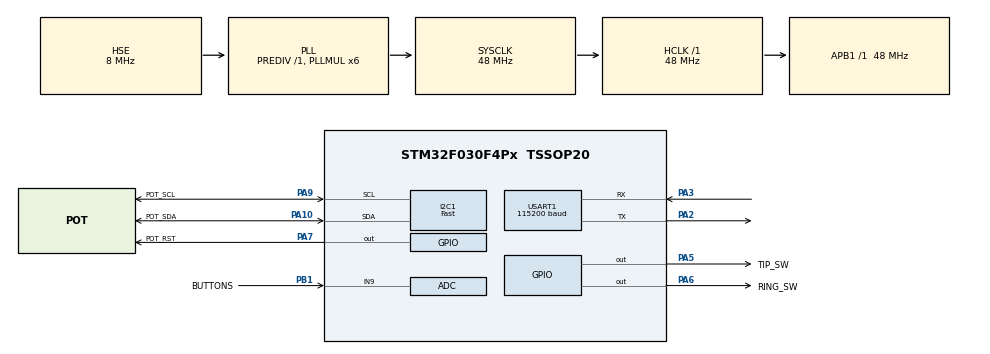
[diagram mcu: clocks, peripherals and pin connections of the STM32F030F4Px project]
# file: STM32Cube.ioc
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ADC.ContinuousConvMode=ENABLE
ADC.DMAContinuousRequests=ENABLE
ADC.EOCSelection=ADC_EOC_SEQ_CONV
ADC.Overrun=ADC_OVR_DATA_OVERWRITTEN
ADC.Resolution=ADC_RESOLUTION_12B
ADC.SamplingTime=ADC_SAMPLETIME_28CYCLES_5
Dma.ADC.0.Direction=DMA_PERIPH_TO_MEMORY
Dma.ADC.0.Instance=DMA1_Channel1
Dma.ADC.0.MemDataAlignment=DMA_MDATAALIGN_HALFWORD
Dma.ADC.0.MemInc=DMA_MINC_ENABLE
Dma.ADC.0.Mode=DMA_CIRCULAR
Dma.ADC.0.PeriphDataAlignment=DMA_PDATAALIGN_HALFWORD
Dma.ADC.0.PeriphInc=DMA_PINC_DISABLE
Dma.ADC.0.Priority=DMA_PRIORITY_MEDIUM
Dma.Request0=ADC
Dma.Request1=USART1_RX
Dma.Request2=USART1_TX
Dma.USART1_RX.1.Direction=DMA_PERIPH_TO_MEMORY
Dma.USART1_RX.1.Instance=DMA1_Channel3
Dma.USART1_RX.1.MemDataAlignment=DMA_MDATAALIGN_BYTE
Dma.USART1_RX.1.MemInc=DMA_MINC_ENABLE
Dma.USART1_RX.1.Mode=DMA_CIRCULAR
Dma.USART1_RX.1.PeriphDataAlignment=DMA_PDATAALIGN_BYTE
Dma.USART1_RX.1.PeriphInc=DMA_PINC_DISABLE
Dma.USART1_RX.1.Priority=DMA_PRIORITY_HIGH
Dma.USART1_TX.2.Direction=DMA_MEMORY_TO_PERIPH
Dma.USART1_TX.2.Instance=DMA1_Channel2
Dma.USART1_TX.2.MemDataAlignment=DMA_MDATAALIGN_BYTE
Dma.USART1_TX.2.MemInc=DMA_MINC_ENABLE
Dma.USART1_TX.2.Mode=DMA_NORMAL
Dma.USART1_TX.2.PeriphDataAlignment=DMA_PDATAALIGN_BYTE
Dma.USART1_TX.2.PeriphInc=DMA_PINC_DISABLE
Dma.USART1_TX.2.Priority=DMA_PRIORITY_HIGH
I2C1.I2C_Speed_Mode=I2C_Fast
I2C1.Timing=0x2010091A
Mcu.Family=STM32F0
Mcu.Name=STM32F030F4Px
Mcu.Package=TSSOP20
NVIC.DMA1_Channel1_IRQn=true\:0\:0\:false\:false\:true\:false\:true
NVIC.DMA1_Channel2_3_IRQn=true\:0\:0\:false\:false\:true\:false\:true
NVIC.USART1_IRQn=true\:0\:0\:false\:false\:true\:true\:true
PA10.GPIO_Label=POT_SDA
PA10.Mode=I2C
PA10.Signal=I2C1_SDA
PA13.Mode=Serial_Wire
PA13.Signal=SYS_SWDIO
PA14.Mode=Serial_Wire
PA14.Signal=SYS_SWCLK
PA2.Mode=Asynchronous
PA2.Signal=USART1_TX
PA3.Mode=Asynchronous
PA3.Signal=USART1_RX
PA5.GPIO_Label=TIP_SW
PA5.GPIO_PuPd=GPIO_PULLDOWN
PA5.GPIO_Speed=GPIO_SPEED_FREQ_MEDIUM
PA5.Signal=GPIO_Output
PA6.GPIO_Label=RING_SW
PA6.GPIO_PuPd=GPIO_PULLDOWN
PA6.GPIO_Speed=GPIO_SPEED_FREQ_MEDIUM
PA6.Signal=GPIO_Output
PA7.GPIO_Label=POT_RST
PA7.GPIO_ModeDefaultOutputPP=GPIO_MODE_OUTPUT_OD
PA7.GPIO_PuPd=GPIO_PULLUP
PA7.PinState=GPIO_PIN_SET
PA7.Signal=GPIO_Output
PA9.GPIO_Label=POT_SCL
PA9.Mode=I2C
PA9.Signal=I2C1_SCL
PB1.GPIO_Label=BUTTONS
PB1.Mode=IN9
PB1.Signal=ADC_IN9
PF0-OSC_IN.Mode=HSE-External-Oscillator
PF0-OSC_IN.Signal=RCC_OSC_IN
PF1-OSC_OUT.Mode=HSE-External-Oscillator
PF1-OSC_OUT.Signal=RCC_OSC_OUT
ProjectManager.HeapSize=0x200
ProjectManager.StackSize=0x400
ProjectManager.TargetToolchain=Other Toolchains (GPDSC)
RCC.AHBFreq_Value=48000000
RCC.APB1Freq_Value=48000000
RCC.APB1TimFreq_Value=48000000
RCC.HCLKFreq_Value=48000000
RCC.I2c1ClockSelection=RCC_I2C1CLKSOURCE_SYSCLK
RCC.PLLMUL=RCC_PLL_MUL6
RCC.PLLSourceVirtual=RCC_PLLSOURCE_HSE
RCC.SYSCLKFreq_VALUE=48000000
RCC.SYSCLKSource=RCC_SYSCLKSOURCE_PLLCLK
USART1.BaudRate=115200
USART1.VirtualMode-Asynchronous=VM_ASYNC
board=custom

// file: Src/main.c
/* USER CODE BEGIN Header */
/**
  ******************************************************************************
  * @file           : main.c
  * @brief          : Main program body
  ******************************************************************************
  * @attention
  *
  * <h2><center>&copy; Copyright (c) 2020 STMicroelectronics.
  * All rights reserved.</center></h2>
  *
  * This software component is licensed by ST under BSD 3-Clause license,
  * the "License"; You may not use this file except in compliance with the
  * License. You may obtain a copy of the License at:
  *                        opensource.org/licenses/BSD-3-Clause
  *
  ******************************************************************************
  */
/* USER CODE END Header */
#include "main.h"
#include "adc.h"
#include "dma.h"
#include "i2c.h"
#include "usart.h"
#include "gpio.h"

/* USER CODE BEGIN Includes */
#include <config.h>
#include "memory.h"
#include "math.h"
#include "ad5272.h"
#include "statemachine.h"
#include "commands.h"

#ifdef FEAT_FLASH_STORAGE
#include "flashstorage.h"
#endif

#ifdef DEBUG
#include "stdio.h"
#include "SEGGER_RTT.h"
#endif

/* USER CODE END Includes */

/* USER CODE BEGIN PM */
#define FL_AVG_READY 0x00000001
#define FL_URX_READY 0x00000002
#define FL_UTX_READY 0x00000004

#define FL_FWD_ADC 0x00000001
#define FL_HANDSHK 0x00000002

/* USER CODE END PM */

/* USER CODE BEGIN PV */
uint16_t readouts[BUT_BUF_LEN];
uint8_t rxBuff[RX_BUF_LEN];
uint8_t txBuff[TX_BUF_LEN];

volatile uint32_t average = 0;
volatile uint32_t intFlags = 0;
volatile uint32_t stateFlags = 0;

/* USER CODE END PV */

void SystemClock_Config(void);

int main(void)
{

  /* MCU Configuration--------------------------------------------------------*/

  /* Reset of all peripherals, Initializes the Flash interface and the Systick. */
  HAL_Init();

  /* Configure the system clock */
  SystemClock_Config();

  /* Initialize all configured peripherals */
  MX_GPIO_Init();
  MX_DMA_Init();
  MX_USART1_UART_Init();
  MX_ADC_Init();
  MX_I2C1_Init();
  /* USER CODE BEGIN 2 */
  HAL_GPIO_WritePin(RING_SW_GPIO_Port, RING_SW_Pin, GPIO_PIN_RESET);
  HAL_GPIO_WritePin(TIP_SW_GPIO_Port, TIP_SW_Pin, GPIO_PIN_RESET);

  HAL_ADCEx_Calibration_Start(&hadc);

  ResetAD5272();
  AD5272Addr = scanI2C();

  InitAD5272();

#ifdef DEBUG
  InitCommandNames();
  char avgstr[40];
  sprintf(avgstr, "I2C: %0X\r\n", AD5272Addr);
  SEGGER_RTT_TerminalOut(2, avgstr);
#endif

  HAL_ADC_Start_DMA(&hadc, (uint32_t *)readouts, BUT_BUF_LEN);
  HAL_UART_Receive_DMA(&huart1, rxBuff, RX_BUF_LEN);

  uint32_t avg = 4096;
  /* USER CODE END 2 */

  /* Infinite loop */
  /* USER CODE BEGIN WHILE */
  uint16_t pv;
  while (1)
  {
    // wait for DMA interrupt
    while (0 == (intFlags & FL_AVG_READY))
    {
      if (intFlags & FL_URX_READY)
      {
#ifdef DEBUG
        sprintf(avgstr, "UART: %0X%0X%0X%0 X\r\n", rxBuff[0], rxBuff[1], rxBuff[2], rxBuff[3]);
        SEGGER_RTT_TerminalOut(2, avgstr);
#endif
        switch (rxBuff[0])
        {
        case 0x01: // Manual pot output
          pv = (uint16_t)(rxBuff[2]) << 8 | (uint16_t)(rxBuff[3]);
          if (1 == rxBuff[1])
          {
            HAL_GPIO_WritePin(RING_SW_GPIO_Port, RING_SW_Pin, GPIO_PIN_SET);
          }
          else
          {
            HAL_GPIO_WritePin(RING_SW_GPIO_Port, RING_SW_Pin, GPIO_PIN_RESET);
          }
          if (0x3FF == pv)
          {
            HAL_GPIO_WritePin(TIP_SW_GPIO_Port, TIP_SW_Pin, GPIO_PIN_RESET);
          }
          else
          {
            AD5272_command_write(&hi2c1, AD5272_RDAC_WRITE, pv);
            HAL_GPIO_WritePin(TIP_SW_GPIO_Port, TIP_SW_Pin, GPIO_PIN_SET);
          }
          break;
        case 0x02: // Monitor ADC
          if (rxBuff[1] == 0)
          {
            stateFlags &= ~FL_FWD_ADC;
          }
          else
          {
            stateFlags |= FL_FWD_ADC;
            intFlags |= FL_UTX_READY;
          }
          break;
        case 0xFA: // Host handshake
          if (rxBuff[1] == 0xFB && rxBuff[2] == 0xFC && rxBuff[3] == 0xFD)
          {
#ifdef DEBUG
            SEGGER_RTT_TerminalOut(2, "Got handshake request\r\n");
#endif
            txBuff[0] = 'e';
            txBuff[1] = 'l';
            txBuff[2] = 'l';
            txBuff[3] = 'o';
            intFlags &= ~FL_UTX_READY;
            HAL_UART_Transmit_DMA(&huart1, txBuff, TX_BUF_LEN); // Acknowledge connection
            stateFlags |= FL_HANDSHK;
#ifdef DEBUG
            SEGGER_RTT_TerminalOut(2, "Sent handshake response\r\n");
#endif
          }
          break;
        case 0xFD: // Host disconnect
          if (rxBuff[1] == 0xFC && rxBuff[2] == 0xFB && rxBuff[3] == 0xFA)
          {
            stateFlags &= ~(FL_HANDSHK | FL_FWD_ADC);
          }
          break;
#ifdef FEAT_FLASH_STORAGE
        case 0xE0: // store settings
          if (rxBuff[1] == 0xE1 && rxBuff[2] == 0xE2 && rxBuff[3] == 0xE3)
          {
            storeButtons();
            txBuff[0] = 0xE3;
            txBuff[1] = 0xE2;
            txBuff[2] = 0xE1;
            txBuff[3] = 0xE0;
            intFlags &= ~FL_UTX_READY;
            HAL_UART_Transmit_DMA(&huart1, txBuff, TX_BUF_LEN); // Acknowledge connection
          }
          break;
#endif
        default:
#ifdef DEBUG
          SEGGER_RTT_TerminalOut(2, "Unknown UART command\r\n");
#endif
          break;
        }
        intFlags ^= FL_URX_READY;
      }
    }

    avg = average;
    intFlags &= ~FL_AVG_READY;

    if ((intFlags & FL_UTX_READY) && (stateFlags & FL_FWD_ADC) && (stateFlags & FL_HANDSHK))
    {
      txBuff[0] = 0x02;
      txBuff[1] = (avg >> 8) & 0xFF;
      txBuff[2] = avg & 0xFF;
      txBuff[3] = 0;
      intFlags &= ~FL_UTX_READY;
      HAL_UART_Transmit_DMA(&huart1, txBuff, TX_BUF_LEN);
    }

#ifdef DEBUG
    sprintf(avgstr, "%ld\r\n", avg);
    SEGGER_RTT_TerminalOut(1, avgstr);
#endif
    ProcessInput(avg);

    /* USER CODE END WHILE */

    /* USER CODE BEGIN 3 */
  }
  free(readouts);
  /* USER CODE END 3 */
}

void SystemClock_Config(void)
{
  RCC_OscInitTypeDef RCC_OscInitStruct = {0};
  RCC_ClkInitTypeDef RCC_ClkInitStruct = {0};
  RCC_PeriphCLKInitTypeDef PeriphClkInit = {0};

  /** Initializes the RCC Oscillators according to the specified parameters
  * in the RCC_OscInitTypeDef structure.
  */
  RCC_OscInitStruct.OscillatorType = RCC_OSCILLATORTYPE_HSI14 | RCC_OSCILLATORTYPE_HSE;
  RCC_OscInitStruct.HSEState = RCC_HSE_ON;
  RCC_OscInitStruct.HSI14State = RCC_HSI14_ON;
  RCC_OscInitStruct.HSI14CalibrationValue = 16;
  RCC_OscInitStruct.PLL.PLLState = RCC_PLL_ON;
  RCC_OscInitStruct.PLL.PLLSource = RCC_PLLSOURCE_HSE;
  RCC_OscInitStruct.PLL.PLLMUL = RCC_PLL_MUL6;
  RCC_OscInitStruct.PLL.PREDIV = RCC_PREDIV_DIV1;
  if (HAL_RCC_OscConfig(&RCC_OscInitStruct) != HAL_OK)
  {
    Error_Handler();
  }
  /** Initializes the CPU, AHB and APB buses clocks
  */
  RCC_ClkInitStruct.ClockType = RCC_CLOCKTYPE_HCLK | RCC_CLOCKTYPE_SYSCLK | RCC_CLOCKTYPE_PCLK1;
  RCC_ClkInitStruct.SYSCLKSource = RCC_SYSCLKSOURCE_PLLCLK;
  RCC_ClkInitStruct.AHBCLKDivider = RCC_SYSCLK_DIV1;
  RCC_ClkInitStruct.APB1CLKDivider = RCC_HCLK_DIV1;

  if (HAL_RCC_ClockConfig(&RCC_ClkInitStruct, FLASH_LATENCY_1) != HAL_OK)
  {
    Error_Handler();
  }
  PeriphClkInit.PeriphClockSelection = RCC_PERIPHCLK_USART1 | RCC_PERIPHCLK_I2C1;
  PeriphClkInit.Usart1ClockSelection = RCC_USART1CLKSOURCE_PCLK1;
  PeriphClkInit.I2c1ClockSelection = RCC_I2C1CLKSOURCE_SYSCLK;
  if (HAL_RCCEx_PeriphCLKConfig(&PeriphClkInit) != HAL_OK)
  {
    Error_Handler();
  }
}

/* USER CODE BEGIN 4 */
void HAL_ADC_ConvCpltCallback(ADC_HandleTypeDef *myadc)
{
  for (int i = BUT_BUF_LEN / 2; i < BUT_BUF_LEN; i++)
  {
    average += readouts[i];
  }
  average /= BUT_BUF_LEN / 2;
#if VARIO_FILTER
  uint32_t maxVar = 0;
  for (int i = BUT_BUF_LEN / 2; i < BUT_BUF_LEN; i++)
  {
    uint32_t diff = abs((uint32_t)readouts[i] - average);
    if (diff > maxVar)
    {
      maxVar = diff;
    }
  }
  char maxstr[10];
#ifdef DEBUG
  SEGGER_RTT_TerminalOut(2, strcat(itoa(maxVar, maxstr, 10), "\r\n"));
#endif
  if (maxVar > MAX_VARIATION)
    return;
#endif
  intFlags |= FL_AVG_READY;
}

void HAL_ADC_ConvHalfCpltCallback(ADC_HandleTypeDef *myadc)
{
  for (int i = 0; i < BUT_BUF_LEN / 2; i++)
  {
    average += readouts[i];
  }
  average /= BUT_BUF_LEN / 2;
#if VARIO_FILTER
  uint32_t maxVar = 0;
  for (int i = 0; i < BUT_BUF_LEN / 2; i++)
  {
    uint32_t diff = abs((uint32_t)readouts[i] - average);
    if (diff > maxVar)
    {
      maxVar = diff;
    }
  }
  char maxstr[10];
#ifdef
  SEGGER_RTT_TerminalOut(2, strcat(itoa(maxVar, maxstr, 10), "\r\n"));
#endif
  if (maxVar > MAX_VARIATION)
    return;
#endif
  intFlags |= FL_AVG_READY;
}

void HAL_UART_RxCpltCallback(UART_HandleTypeDef *huart)
{
  intFlags |= FL_URX_READY;
}

void HAL_UART_TxCpltCallback(UART_HandleTypeDef *huart)
{
  intFlags |= FL_UTX_READY;
}

/* USER CODE END 4 */

void Error_Handler(void)
{
}

/************************ (C) COPYRIGHT STMicroelectronics *****END OF FILE****/
